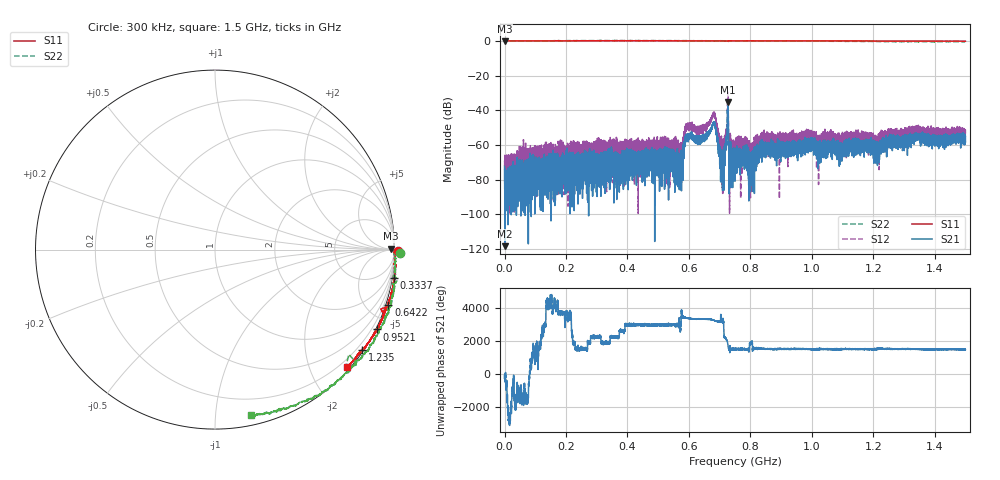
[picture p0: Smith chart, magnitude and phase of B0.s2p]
!Agilent Technologies,N5230C,SG49000117,A.08.50.07
!Agilent N5230C: A.08.50.07
!Date: Thursday, December 07, 2023 02:53:48
!Correction: S11(Full 2 Port(1,2))
!S21(Full 2 Port(1,2))
!S12(Full 2 Port(1,2))
!S22(Full 2 Port(1,2))
!S2P File: Measurements: S11, S21, S12, S22:
# Hz S  RI  R 50
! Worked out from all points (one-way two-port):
!   20001 points, 300 kHz to 1.5 GHz, reference 50 ohm
!   highest |S21| = -35.17 dB at 727.4 MHz (marker M1); lowest = -118.3 dB at 2.025 MHz (marker M2)
!   lowest |S11| = -0.2 dB at 525 kHz (marker M3), VSWR 89.58, Z = 4.2e+03 + j1.09e+03 ohm
!   |S11| at or under -10 dB: nowhere
!   |S22| runs from -0.6 to 0.3 dB; largest |S21 - S12| = 0.018
!   S11 on the Smith chart (normalised r, x): 300 kHz: -88, -39; 333.7 MHz: -1, -13; 642.2 MHz: -0.30, -6.44; 952.1 MHz: -0.05, -4.29; 1.235 GHz: 0.04, -3.25; 1.5 GHz: 0.07, -2.64
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300000  1.019 -0.00846  -0.000187 -0.000156  -0.000161 -0.000322  1.029 -0.0176
524955  0.9779 0.00564  8.03e-05 -6.66e-05  0.000104 -0.000131  0.93 -0.00279
2024655  0.9951 -0.00188  1.11e-06 -5e-07  -0.000143 -0.000183  1.001 -0.00636
2.503e8  1.005 -0.1227  0.000113 0.000174  -0.000334 0.00036  0.9928 -0.2416
3.336833e8  0.9979 -0.1559  -0.000141 0.000128  0.00068 0.000502  0.9805 -0.3168
5.00225e8  0.9839 -0.2393  -0.000146 0.000332  0.000292 0.00044  0.9076 -0.4746
5.721356e8  0.9739 -0.2777  2.77e-05 0.000134  -0.000141 9.94e-05  0.8566 -0.5477
5.939562e8  0.9686 -0.2859  -0.00115 0.00124  -0.00216 0.00277  0.8522 -0.5668
6.421716e8  0.9665 -0.3069  0.00061 0.00168  0.00143 0.00241  0.8184 -0.601
6.817637e8  0.9514 -0.3215  0.00474 1.59e-06  0.00806 -0.00231  0.781 -0.622
7.084583e8  0.9512 -0.3344  0.00018 -0.000214  7.05e-05 -0.000655  0.7833 -0.6414
7.218057e8  0.9482 -0.3445  0.000197 -0.000701  -0.000226 -0.00207  0.7665 -0.6522
7.273546e8  0.9194 -0.3349  0.00922 -0.0148  0.00719 -0.0325  0.7299 -0.5856
7.367277e8  0.9482 -0.3455  0.000359 0.000213  0.00026 0.000184  0.7607 -0.6521
7.5015e8  0.9442 -0.3537  0.000202 7.54e-05  0.000473 0.00026  0.7518 -0.6729
8.025645e8  0.933 -0.3834  8.54e-05 0.000375  0.000117 3.24e-05  0.7092 -0.7073
8.388573e8  0.9238 -0.4007  5.01e-05 0.000747  0.00106 0.0015  0.6849 -0.726
9.520846e8  0.902 -0.4448  0.000324 0.000795  0.00118 0.000999  0.6072 -0.7898
1.00015e9  0.891 -0.4662  0.000936 0.000604  0.00213 0.000419  0.5735 -0.8139
1.235003e9  0.8214 -0.5582  6.52e-05 0.000926  0.00134 0.000829  0.3707 -0.8875
1.250075e9  0.8157 -0.5643  0.000231 0.00146  0.000858 0.000843  0.3642 -0.8949
1.5e9  0.7368 -0.6512  0.00108 0.000615  0.00209 0.000538  0.2023 -0.9178
